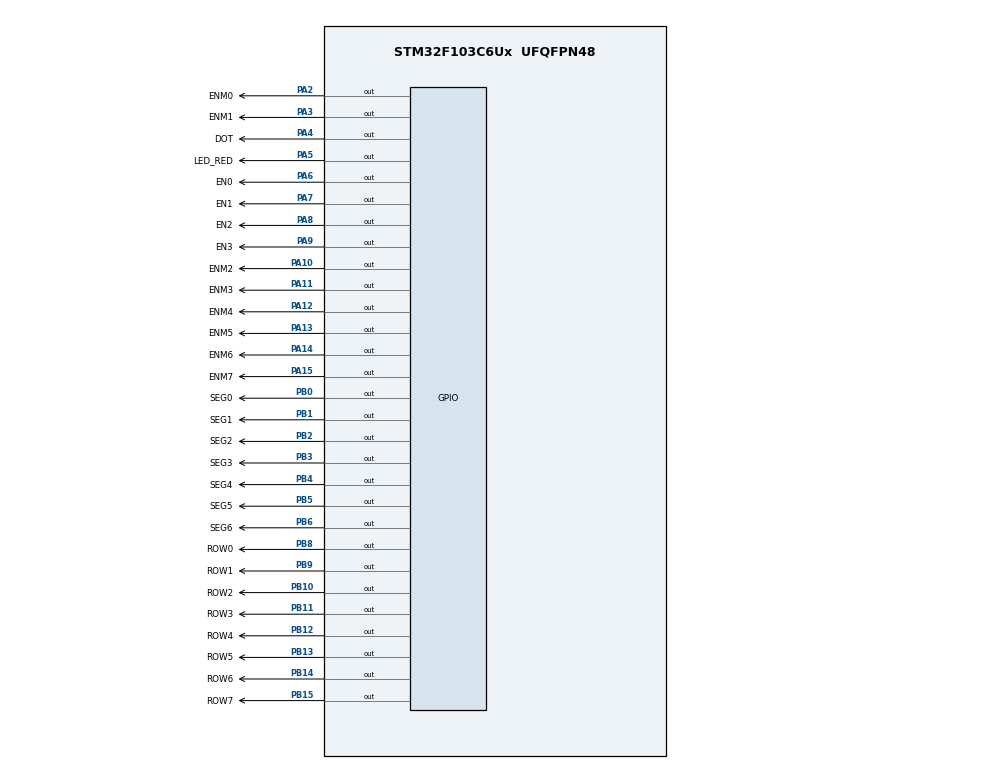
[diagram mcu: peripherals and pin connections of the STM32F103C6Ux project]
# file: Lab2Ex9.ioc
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Mcu.Family=STM32F1
Mcu.Name=STM32F103C6Ux
Mcu.Package=UFQFPN48
NVIC.PriorityGroup=NVIC_PRIORITYGROUP_4
NVIC.TIM2_IRQn=true\:0\:0\:false\:false\:true\:true\:true
PA10.GPIO_Label=ENM2
PA10.Signal=GPIO_Output
PA11.GPIO_Label=ENM3
PA11.Signal=GPIO_Output
PA12.GPIO_Label=ENM4
PA12.Signal=GPIO_Output
PA13.GPIO_Label=ENM5
PA13.Signal=GPIO_Output
PA14.GPIO_Label=ENM6
PA14.Signal=GPIO_Output
PA15.GPIO_Label=ENM7
PA15.Signal=GPIO_Output
PA2.GPIO_Label=ENM0
PA2.Signal=GPIO_Output
PA3.GPIO_Label=ENM1
PA3.Signal=GPIO_Output
PA4.GPIO_Label=DOT
PA4.Signal=GPIO_Output
PA5.GPIO_Label=LED_RED
PA5.Signal=GPIO_Output
PA6.GPIO_Label=EN0
PA6.Signal=GPIO_Output
PA7.GPIO_Label=EN1
PA7.Signal=GPIO_Output
PA8.GPIO_Label=EN2
PA8.Signal=GPIO_Output
PA9.GPIO_Label=EN3
PA9.Signal=GPIO_Output
PB0.GPIO_Label=SEG0
PB0.Signal=GPIO_Output
PB1.GPIO_Label=SEG1
PB1.Signal=GPIO_Output
PB10.GPIO_Label=ROW2
PB10.Signal=GPIO_Output
PB11.GPIO_Label=ROW3
PB11.Signal=GPIO_Output
PB12.GPIO_Label=ROW4
PB12.Signal=GPIO_Output
PB13.GPIO_Label=ROW5
PB13.Signal=GPIO_Output
PB14.GPIO_Label=ROW6
PB14.Signal=GPIO_Output
PB15.GPIO_Label=ROW7
PB15.Signal=GPIO_Output
PB2.GPIO_Label=SEG2
PB2.Signal=GPIO_Output
PB3.GPIO_Label=SEG3
PB3.Signal=GPIO_Output
PB4.GPIO_Label=SEG4
PB4.Signal=GPIO_Output
PB5.GPIO_Label=SEG5
PB5.Signal=GPIO_Output
PB6.GPIO_Label=SEG6
PB6.Signal=GPIO_Output
PB8.GPIO_Label=ROW0
PB8.Signal=GPIO_Output
PB9.GPIO_Label=ROW1
PB9.Signal=GPIO_Output
ProjectManager.HeapSize=0x200
ProjectManager.StackSize=0x400
ProjectManager.TargetToolchain=STM32CubeIDE
RCC.APB1Freq_Value=8000000
RCC.APB2Freq_Value=8000000
TIM2.Prescaler=7999
VP_SYS_VS_ND.Mode=No_Debug
VP_TIM2_VS_ClockSourceINT.Mode=Internal
board=custom

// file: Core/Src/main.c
/* USER CODE BEGIN Header */
/**
  ******************************************************************************
  * @file           : main.c
  * @brief          : Main program body
  ******************************************************************************
  * @attention
  *
  * <h2><center>&copy; Copyright (c) 2025 STMicroelectronics.
  * All rights reserved.</center></h2>
  *
  * This software component is licensed by ST under BSD 3-Clause license,
  * the "License"; You may not use this file except in compliance with the
  * License. You may obtain a copy of the License at:
  *                        opensource.org/licenses/BSD-3-Clause
  *
  ******************************************************************************
  */
/* USER CODE END Header */
#include "main.h"

TIM_HandleTypeDef htim2;

void SystemClock_Config(void);
static void MX_GPIO_Init(void);
static void MX_TIM2_Init(void);

/* USER CODE BEGIN 0 */

// 7SEG DISPLAY
void display7SEG(int num) {
	switch(num) {
		case 0:
			HAL_GPIO_WritePin(SEG0_GPIO_Port, SEG0_Pin, GPIO_PIN_RESET);
			HAL_GPIO_WritePin(SEG1_GPIO_Port, SEG1_Pin, GPIO_PIN_RESET);
			HAL_GPIO_WritePin(SEG2_GPIO_Port, SEG2_Pin, GPIO_PIN_RESET);
			HAL_GPIO_WritePin(SEG3_GPIO_Port, SEG3_Pin, GPIO_PIN_RESET);
			HAL_GPIO_WritePin(SEG4_GPIO_Port, SEG4_Pin, GPIO_PIN_RESET);
			HAL_GPIO_WritePin(SEG5_GPIO_Port, SEG5_Pin, GPIO_PIN_RESET);
			HAL_GPIO_WritePin(SEG6_GPIO_Port, SEG6_Pin, GPIO_PIN_SET);
			break;
		case 1:
			HAL_GPIO_WritePin(SEG0_GPIO_Port, SEG0_Pin, GPIO_PIN_SET);
			HAL_GPIO_WritePin(SEG1_GPIO_Port, SEG1_Pin, GPIO_PIN_RESET);
			HAL_GPIO_WritePin(SEG2_GPIO_Port, SEG2_Pin, GPIO_PIN_RESET);
			HAL_GPIO_WritePin(SEG3_GPIO_Port, SEG3_Pin, GPIO_PIN_SET);
			HAL_GPIO_WritePin(SEG4_GPIO_Port, SEG4_Pin, GPIO_PIN_SET);
			HAL_GPIO_WritePin(SEG5_GPIO_Port, SEG5_Pin, GPIO_PIN_SET);
			HAL_GPIO_WritePin(SEG6_GPIO_Port, SEG6_Pin, GPIO_PIN_SET);
			break;
		case 2:
			HAL_GPIO_WritePin(SEG0_GPIO_Port, SEG0_Pin, GPIO_PIN_RESET);
			HAL_GPIO_WritePin(SEG1_GPIO_Port, SEG1_Pin, GPIO_PIN_RESET);
			HAL_GPIO_WritePin(SEG2_GPIO_Port, SEG2_Pin, GPIO_PIN_SET);
			HAL_GPIO_WritePin(SEG3_GPIO_Port, SEG3_Pin, GPIO_PIN_RESET);
			HAL_GPIO_WritePin(SEG4_GPIO_Port, SEG4_Pin, GPIO_PIN_RESET);
			HAL_GPIO_WritePin(SEG5_GPIO_Port, SEG5_Pin, GPIO_PIN_SET);
			HAL_GPIO_WritePin(SEG6_GPIO_Port, SEG6_Pin, GPIO_PIN_RESET);
			break;
		case 3:
			HAL_GPIO_WritePin(SEG0_GPIO_Port, SEG0_Pin, GPIO_PIN_RESET);
			HAL_GPIO_WritePin(SEG1_GPIO_Port, SEG1_Pin, GPIO_PIN_RESET);
			HAL_GPIO_WritePin(SEG2_GPIO_Port, SEG2_Pin, GPIO_PIN_RESET);
			HAL_GPIO_WritePin(SEG3_GPIO_Port, SEG3_Pin, GPIO_PIN_RESET);
			HAL_GPIO_WritePin(SEG4_GPIO_Port, SEG4_Pin, GPIO_PIN_SET);
			HAL_GPIO_WritePin(SEG5_GPIO_Port, SEG5_Pin, GPIO_PIN_SET);
			HAL_GPIO_WritePin(SEG6_GPIO_Port, SEG6_Pin, GPIO_PIN_RESET);
			break;
		case 4:
			HAL_GPIO_WritePin(SEG0_GPIO_Port, SEG0_Pin, GPIO_PIN_SET);
			HAL_GPIO_WritePin(SEG1_GPIO_Port, SEG1_Pin, GPIO_PIN_RESET);
			HAL_GPIO_WritePin(SEG2_GPIO_Port, SEG2_Pin, GPIO_PIN_RESET);
			HAL_GPIO_WritePin(SEG3_GPIO_Port, SEG3_Pin, GPIO_PIN_SET);
			HAL_GPIO_WritePin(SEG4_GPIO_Port, SEG4_Pin, GPIO_PIN_SET);
			HAL_GPIO_WritePin(SEG5_GPIO_Port, SEG5_Pin, GPIO_PIN_RESET);
			HAL_GPIO_WritePin(SEG6_GPIO_Port, SEG6_Pin, GPIO_PIN_RESET);
			break;
		case 5:
			HAL_GPIO_WritePin(SEG0_GPIO_Port, SEG0_Pin, GPIO_PIN_RESET);
			HAL_GPIO_WritePin(SEG1_GPIO_Port, SEG1_Pin, GPIO_PIN_SET);
			HAL_GPIO_WritePin(SEG2_GPIO_Port, SEG2_Pin, GPIO_PIN_RESET);
			HAL_GPIO_WritePin(SEG3_GPIO_Port, SEG3_Pin, GPIO_PIN_RESET);
			HAL_GPIO_WritePin(SEG4_GPIO_Port, SEG4_Pin, GPIO_PIN_SET);
			HAL_GPIO_WritePin(SEG5_GPIO_Port, SEG5_Pin, GPIO_PIN_RESET);
			HAL_GPIO_WritePin(SEG6_GPIO_Port, SEG6_Pin, GPIO_PIN_RESET);
			break;
		case 6:
			HAL_GPIO_WritePin(SEG0_GPIO_Port, SEG0_Pin, GPIO_PIN_RESET);
			HAL_GPIO_WritePin(SEG1_GPIO_Port, SEG1_Pin, GPIO_PIN_SET);
			HAL_GPIO_WritePin(SEG2_GPIO_Port, SEG2_Pin, GPIO_PIN_RESET);
			HAL_GPIO_WritePin(SEG3_GPIO_Port, SEG3_Pin, GPIO_PIN_RESET);
			HAL_GPIO_WritePin(SEG4_GPIO_Port, SEG4_Pin, GPIO_PIN_RESET);
			HAL_GPIO_WritePin(SEG5_GPIO_Port, SEG5_Pin, GPIO_PIN_RESET);
			HAL_GPIO_WritePin(SEG6_GPIO_Port, SEG6_Pin, GPIO_PIN_RESET);
			break;
		case 7:
			HAL_GPIO_WritePin(SEG0_GPIO_Port, SEG0_Pin, GPIO_PIN_RESET);
			HAL_GPIO_WritePin(SEG1_GPIO_Port, SEG1_Pin, GPIO_PIN_RESET);
			HAL_GPIO_WritePin(SEG2_GPIO_Port, SEG2_Pin, GPIO_PIN_RESET);
			HAL_GPIO_WritePin(SEG3_GPIO_Port, SEG3_Pin, GPIO_PIN_SET);
			HAL_GPIO_WritePin(SEG4_GPIO_Port, SEG4_Pin, GPIO_PIN_SET);
			HAL_GPIO_WritePin(SEG5_GPIO_Port, SEG5_Pin, GPIO_PIN_SET);
			HAL_GPIO_WritePin(SEG6_GPIO_Port, SEG6_Pin, GPIO_PIN_SET);
			break;
		case 8:
			HAL_GPIO_WritePin(SEG0_GPIO_Port, SEG0_Pin, GPIO_PIN_RESET);
			HAL_GPIO_WritePin(SEG1_GPIO_Port, SEG1_Pin, GPIO_PIN_RESET);
			HAL_GPIO_WritePin(SEG2_GPIO_Port, SEG2_Pin, GPIO_PIN_RESET);
			HAL_GPIO_WritePin(SEG3_GPIO_Port, SEG3_Pin, GPIO_PIN_RESET);
			HAL_GPIO_WritePin(SEG4_GPIO_Port, SEG4_Pin, GPIO_PIN_RESET);
			HAL_GPIO_WritePin(SEG5_GPIO_Port, SEG5_Pin, GPIO_PIN_RESET);
			HAL_GPIO_WritePin(SEG6_GPIO_Port, SEG6_Pin, GPIO_PIN_RESET);
			break;
		case 9:
			HAL_GPIO_WritePin(SEG0_GPIO_Port, SEG0_Pin, GPIO_PIN_RESET);
			HAL_GPIO_WritePin(SEG1_GPIO_Port, SEG1_Pin, GPIO_PIN_RESET);
			HAL_GPIO_WritePin(SEG2_GPIO_Port, SEG2_Pin, GPIO_PIN_RESET);
			HAL_GPIO_WritePin(SEG3_GPIO_Port, SEG3_Pin, GPIO_PIN_RESET);
			HAL_GPIO_WritePin(SEG4_GPIO_Port, SEG4_Pin, GPIO_PIN_SET);
			HAL_GPIO_WritePin(SEG5_GPIO_Port, SEG5_Pin, GPIO_PIN_RESET);
			HAL_GPIO_WritePin(SEG6_GPIO_Port, SEG6_Pin, GPIO_PIN_RESET);
			break;
		default:
			HAL_GPIO_WritePin(SEG0_GPIO_Port, SEG0_Pin, GPIO_PIN_SET);
			HAL_GPIO_WritePin(SEG1_GPIO_Port, SEG1_Pin, GPIO_PIN_SET);
			HAL_GPIO_WritePin(SEG2_GPIO_Port, SEG2_Pin, GPIO_PIN_SET);
			HAL_GPIO_WritePin(SEG3_GPIO_Port, SEG3_Pin, GPIO_PIN_SET);
			HAL_GPIO_WritePin(SEG4_GPIO_Port, SEG4_Pin, GPIO_PIN_SET);
			HAL_GPIO_WritePin(SEG5_GPIO_Port, SEG5_Pin, GPIO_PIN_SET);
			HAL_GPIO_WritePin(SEG6_GPIO_Port, SEG6_Pin, GPIO_PIN_SET);
	};
};

const int MAX_LED = 4;
int index_led = 0;
int led_buffer[4] = {1, 2, 3, 4};

void update7SEG(int index)
{
	switch(index)
	{
	case 0:
		//Display the first 7SEG with led_buffer[0]
		display7SEG(led_buffer[0]);
		HAL_GPIO_WritePin(EN0_GPIO_Port, EN0_Pin, GPIO_PIN_RESET);
		HAL_Delay(250);
		HAL_GPIO_WritePin(EN0_GPIO_Port, EN0_Pin, GPIO_PIN_SET);
		break;

	case 1:
		//Display the second 7SEG with led_buffer[1]
		display7SEG(led_buffer[1]);
		HAL_GPIO_WritePin(EN1_GPIO_Port, EN1_Pin, GPIO_PIN_RESET);
		HAL_Delay(250);
		HAL_GPIO_WritePin(EN1_GPIO_Port, EN1_Pin, GPIO_PIN_SET);
		break;

	case 2:
		//Display the third 7SEG with led_buffer[2]
		display7SEG(led_buffer[2]);
		HAL_GPIO_WritePin(EN2_GPIO_Port, EN2_Pin, GPIO_PIN_RESET);
		HAL_Delay(250);
		HAL_GPIO_WritePin(EN2_GPIO_Port, EN2_Pin, GPIO_PIN_SET);
		break;

	case 3:
		//Display the forth 7SEG with led_buffer[3]
		display7SEG(led_buffer[3]);
		HAL_GPIO_WritePin(EN3_GPIO_Port, EN3_Pin, GPIO_PIN_RESET);
		HAL_Delay(250);
		HAL_GPIO_WritePin(EN3_GPIO_Port, EN3_Pin, GPIO_PIN_SET);
		break;

	default:
		break;

	};
};

// HOUR, MINUTE , SECOND
int hour = 15, minute = 8, second = 50;

void updateClockBuffer()
{
	led_buffer[0] = hour / 10;
	led_buffer[1] = hour % 10;
	led_buffer[2] = minute / 10;
	led_buffer[3] = minute % 10;
};

// MATRIX 8x8 LED
const int MAX_LED_MATRIX = 8;
int index_led_matrix = 0;

uint8_t matrix_buffer[8] = {0x01, 0x02, 0x03, 0x04, 0x05, 0x06, 0x07, 0x08};

GPIO_TypeDef* ROW_PORT[8] = {GPIOB, GPIOB, GPIOB, GPIOB, GPIOB, GPIOB, GPIOB, GPIOB};
uint16_t ROW_PIN[8] = {GPIO_PIN_8, GPIO_PIN_9, GPIO_PIN_10, GPIO_PIN_11,
                       GPIO_PIN_12, GPIO_PIN_13, GPIO_PIN_14, GPIO_PIN_15};

GPIO_TypeDef* COL_PORT[8] = {GPIOA, GPIOA, GPIOA, GPIOA, GPIOA, GPIOA, GPIOA, GPIOA};
uint16_t COL_PIN[8] = {GPIO_PIN_0, GPIO_PIN_1, GPIO_PIN_2, GPIO_PIN_3,
                       GPIO_PIN_4, GPIO_PIN_5, GPIO_PIN_6, GPIO_PIN_7};

void updateLEDMatrix(int index)
{
    if (index < 0 || index >= MAX_LED_MATRIX) return;

    // 1. Disable all rows
    for (int i = 0; i < MAX_LED_MATRIX; i++) {
        HAL_GPIO_WritePin(ROW_PORT[i], ROW_PIN[i], GPIO_PIN_SET); // rows OFF (active LOW)
    }

    // 2. Write column data
    uint8_t col_data = matrix_buffer[index];
    for (int col = 0; col < 8; col++) {
        if (col_data & (1 << col)) {
            HAL_GPIO_WritePin(COL_PORT[col], COL_PIN[col], GPIO_PIN_RESET); // ON
        } else {
            HAL_GPIO_WritePin(COL_PORT[col], COL_PIN[col], GPIO_PIN_SET);   // OFF
        }
    }

    // 3. Enable current row
    HAL_GPIO_WritePin(ROW_PORT[index], ROW_PIN[index], GPIO_PIN_RESET); // active LOW
}

/* USER CODE END 0 */

int main(void)
{

  /* MCU Configuration--------------------------------------------------------*/

  /* Reset of all peripherals, Initializes the Flash interface and the Systick. */
  HAL_Init();

  /* Configure the system clock */
  SystemClock_Config();

  /* Initialize all configured peripherals */
  MX_GPIO_Init();
  MX_TIM2_Init();
  /* USER CODE BEGIN 2 */

  // TIMER INIT FUNCTION
  HAL_TIM_Base_Start_IT(&htim2);

  /* USER CODE END 2 */

  /* Infinite loop */
  while (1)
  {

  }
}

void SystemClock_Config(void)
{
  RCC_OscInitTypeDef RCC_OscInitStruct = {0};
  RCC_ClkInitTypeDef RCC_ClkInitStruct = {0};

  /** Initializes the RCC Oscillators according to the specified parameters
  * in the RCC_OscInitTypeDef structure.
  */
  RCC_OscInitStruct.OscillatorType = RCC_OSCILLATORTYPE_HSI;
  RCC_OscInitStruct.HSIState = RCC_HSI_ON;
  RCC_OscInitStruct.HSICalibrationValue = RCC_HSICALIBRATION_DEFAULT;
  RCC_OscInitStruct.PLL.PLLState = RCC_PLL_NONE;
  if (HAL_RCC_OscConfig(&RCC_OscInitStruct) != HAL_OK)
  {
    Error_Handler();
  }
  /** Initializes the CPU, AHB and APB buses clocks
  */
  RCC_ClkInitStruct.ClockType = RCC_CLOCKTYPE_HCLK|RCC_CLOCKTYPE_SYSCLK
                              |RCC_CLOCKTYPE_PCLK1|RCC_CLOCKTYPE_PCLK2;
  RCC_ClkInitStruct.SYSCLKSource = RCC_SYSCLKSOURCE_HSI;
  RCC_ClkInitStruct.AHBCLKDivider = RCC_SYSCLK_DIV1;
  RCC_ClkInitStruct.APB1CLKDivider = RCC_HCLK_DIV1;
  RCC_ClkInitStruct.APB2CLKDivider = RCC_HCLK_DIV1;

  if (HAL_RCC_ClockConfig(&RCC_ClkInitStruct, FLASH_LATENCY_0) != HAL_OK)
  {
    Error_Handler();
  }
}

static void MX_TIM2_Init(void)
{

  TIM_ClockConfigTypeDef sClockSourceConfig = {0};
  TIM_MasterConfigTypeDef sMasterConfig = {0};

  htim2.Instance = TIM2;
  htim2.Init.Prescaler = 7999;
  htim2.Init.CounterMode = TIM_COUNTERMODE_UP;
  htim2.Init.Period = 65535;
  htim2.Init.ClockDivision = TIM_CLOCKDIVISION_DIV1;
  htim2.Init.AutoReloadPreload = TIM_AUTORELOAD_PRELOAD_DISABLE;
  if (HAL_TIM_Base_Init(&htim2) != HAL_OK)
  {
    Error_Handler();
  }
  sClockSourceConfig.ClockSource = TIM_CLOCKSOURCE_INTERNAL;
  if (HAL_TIM_ConfigClockSource(&htim2, &sClockSourceConfig) != HAL_OK)
  {
    Error_Handler();
  }
  sMasterConfig.MasterOutputTrigger = TIM_TRGO_RESET;
  sMasterConfig.MasterSlaveMode = TIM_MASTERSLAVEMODE_DISABLE;
  if (HAL_TIMEx_MasterConfigSynchronization(&htim2, &sMasterConfig) != HAL_OK)
  {
    Error_Handler();
  }

}

static void MX_GPIO_Init(void)
{
  GPIO_InitTypeDef GPIO_InitStruct = {0};

  /* GPIO Ports Clock Enable */
  __HAL_RCC_GPIOA_CLK_ENABLE();
  __HAL_RCC_GPIOB_CLK_ENABLE();

  /*Configure GPIO pin Output Level */
  HAL_GPIO_WritePin(GPIOA, ENM0_Pin|ENM1_Pin|DOT_Pin|LED_RED_Pin
                          |EN0_Pin|EN1_Pin|EN2_Pin|EN3_Pin
                          |ENM2_Pin|ENM3_Pin|ENM4_Pin|ENM5_Pin
                          |ENM6_Pin|ENM7_Pin, GPIO_PIN_RESET);

  /*Configure GPIO pin Output Level */
  HAL_GPIO_WritePin(GPIOB, SEG0_Pin|SEG1_Pin|SEG2_Pin|ROW2_Pin
                          |ROW3_Pin|ROW4_Pin|ROW5_Pin|ROW6_Pin
                          |ROW7_Pin|SEG3_Pin|SEG4_Pin|SEG5_Pin
                          |SEG6_Pin|ROW0_Pin|ROW1_Pin, GPIO_PIN_RESET);

  /*Configure GPIO pins : ENM0_Pin ENM1_Pin DOT_Pin LED_RED_Pin
                           EN0_Pin EN1_Pin EN2_Pin EN3_Pin
                           ENM2_Pin ENM3_Pin ENM4_Pin ENM5_Pin
                           ENM6_Pin ENM7_Pin */
  GPIO_InitStruct.Pin = ENM0_Pin|ENM1_Pin|DOT_Pin|LED_RED_Pin
                          |EN0_Pin|EN1_Pin|EN2_Pin|EN3_Pin
                          |ENM2_Pin|ENM3_Pin|ENM4_Pin|ENM5_Pin
                          |ENM6_Pin|ENM7_Pin;
  GPIO_InitStruct.Mode = GPIO_MODE_OUTPUT_PP;
  GPIO_InitStruct.Pull = GPIO_NOPULL;
  GPIO_InitStruct.Speed = GPIO_SPEED_FREQ_LOW;
  HAL_GPIO_Init(GPIOA, &GPIO_InitStruct);

  /*Configure GPIO pins : SEG0_Pin SEG1_Pin SEG2_Pin ROW2_Pin
                           ROW3_Pin ROW4_Pin ROW5_Pin ROW6_Pin
                           ROW7_Pin SEG3_Pin SEG4_Pin SEG5_Pin
                           SEG6_Pin ROW0_Pin ROW1_Pin */
  GPIO_InitStruct.Pin = SEG0_Pin|SEG1_Pin|SEG2_Pin|ROW2_Pin
                          |ROW3_Pin|ROW4_Pin|ROW5_Pin|ROW6_Pin
                          |ROW7_Pin|SEG3_Pin|SEG4_Pin|SEG5_Pin
                          |SEG6_Pin|ROW0_Pin|ROW1_Pin;
  GPIO_InitStruct.Mode = GPIO_MODE_OUTPUT_PP;
  GPIO_InitStruct.Pull = GPIO_NOPULL;
  GPIO_InitStruct.Speed = GPIO_SPEED_FREQ_LOW;
  HAL_GPIO_Init(GPIOB, &GPIO_InitStruct);

}

/* USER CODE BEGIN 4 */

void HAL_TIM_PeriodElapsedCallback(TIM_HandleTypeDef *htim)
{
    if (htim->Instance == TIM2)  // check if TIM2 triggered
    {
        updateLEDMatrix(index_led_matrix);

        // move to next row
        index_led_matrix++;
        if (index_led_matrix >= MAX_LED_MATRIX) {
            index_led_matrix = 0;
        }
    }
}

/* USER CODE END 4 */

void Error_Handler(void)
{
  __disable_irq();
  while (1)
  {
  }
}

/************************ (C) COPYRIGHT STMicroelectronics *****END OF FILE****/
